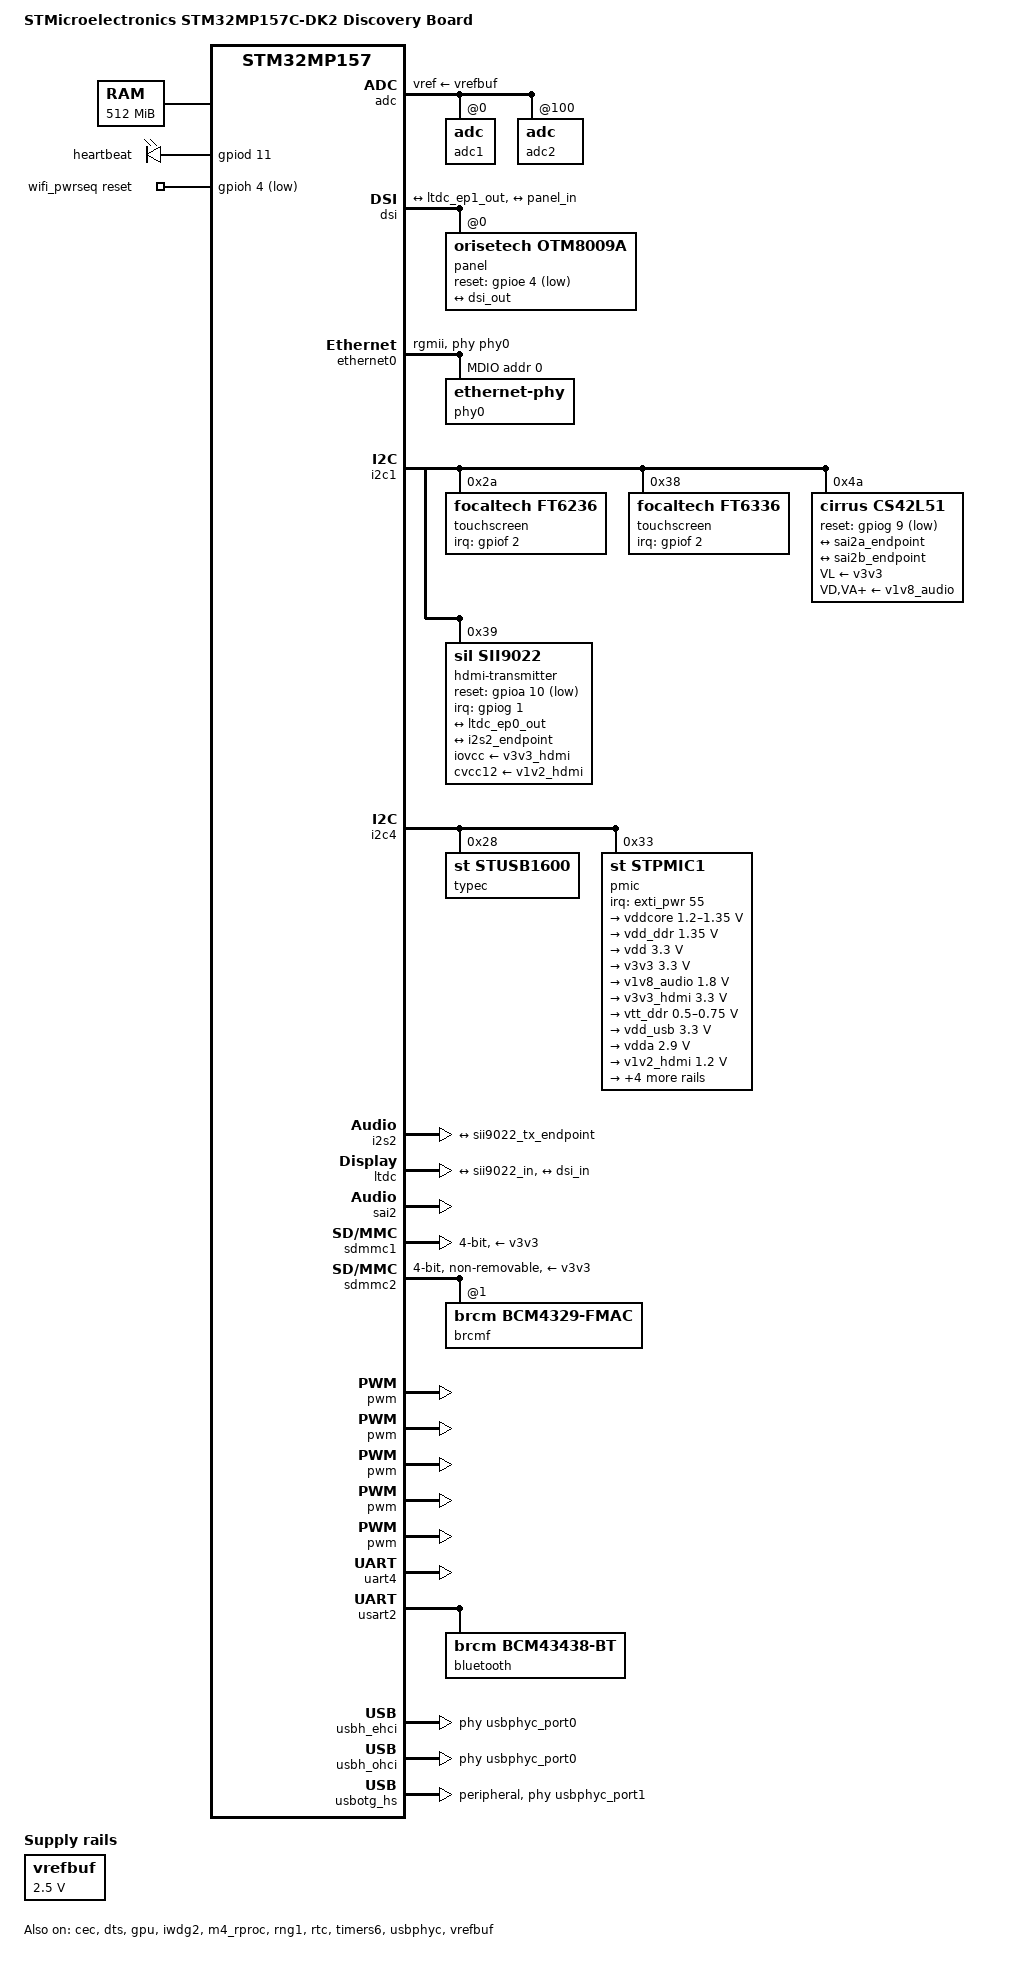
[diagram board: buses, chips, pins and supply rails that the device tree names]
// SPDX-License-Identifier: (GPL-2.0+ OR BSD-3-Clause)
/*
 * Copyright (C) STMicroelectronics 2018 - All Rights Reserved
 * Author: Alexandre Torgue <alexandre.torgue@st.com>.
 */

/dts-v1/;
#include "stm32mp157c.dtsi"
#include "stm32mp157c-m4-srm.dtsi"
#include "stm32mp157cac-pinctrl.dtsi"

/* USER CODE BEGIN includes */
#include <dt-bindings/gpio/gpio.h>
#include <dt-bindings/input/input.h>
#include <dt-bindings/mfd/st,stpmic1.h>
#include <dt-bindings/rtc/rtc-stm32.h>
/* USER CODE END includes */

/ {
	model = "STMicroelectronics STM32MP157C-DK2 Discovery Board";
	compatible = "st,stm32mp157c-dk2", "st,stm32mp157";

	memory@c0000000 {
		reg = <0xc0000000 0x20000000>;
	};

	reserved-memory {
		#address-cells = <1>;
		#size-cells = <1>;
		ranges;

		/* USER CODE BEGIN reserved-memory */

		retram: retram@0x38000000 {
			compatible = "shared-dma-pool";
			reg = <0x38000000 0x10000>;
			no-map;
		};

		mcuram: mcuram@0x30000000 {
			compatible = "shared-dma-pool";
			reg = <0x30000000 0x40000>;
			no-map;
		};

		mcuram2: mcuram2@0x10000000 {
			compatible = "shared-dma-pool";
			reg = <0x10000000 0x40000>;
			no-map;
		};

		vdev0vring0: vdev0vring0@10040000 {
			compatible = "shared-dma-pool";
			reg = <0x10040000 0x2000>;
			no-map;
		};

		vdev0vring1: vdev0vring1@10042000 {
			compatible = "shared-dma-pool";
			reg = <0x10042000 0x2000>;
			no-map;
		};

		vdev0buffer: vdev0buffer@10044000 {
			compatible = "shared-dma-pool";
			reg = <0x10044000 0x4000>;
			no-map;
		};
		/* USER CODE END reserved-memory */

		gpu_reserved: gpu@dc000000 {
			reg = <0xdc000000 0x4000000>;
			no-map;
		};
	};

	/* USER CODE BEGIN root */
	aliases {
		ethernet0 = &ethernet0;
		serial0 = &uart4;
		serial1 = &usart3;
		serial2 = &uart7;
		serial3 = &usart2;
	};

	chosen {
		stdout-path = "serial0:115200n8";
	};

	sram: sram@10050000 {
		compatible = "mmio-sram";
		reg = <0x10050000 0x10000>;
		#address-cells = <1>;
		#size-cells = <1>;
		ranges = <0 0x10050000 0x10000>;

		dma_pool: dma_pool@0 {
			reg = <0x0 0x10000>;
			pool;
		};
	};

	led {
		compatible = "gpio-leds";
		blue {
			label = "heartbeat";
			gpios = <&gpiod 11 GPIO_ACTIVE_HIGH>;
			linux,default-trigger = "heartbeat";
			default-state = "off";
		};
	};

	sound {
		compatible = "audio-graph-card";
		label = "STM32MP1-DK";
		routing =
			"Playback" , "MCLK",
			"Capture" , "MCLK",
			"MICL" , "Mic Bias";
		dais = <&sai2a_port &sai2b_port &i2s2_port>;
		status = "okay";
	};

	usb_phy_tuning: usb-phy-tuning {
		st,hs-dc-level = <2>;
		st,fs-rftime-tuning;
		st,hs-rftime-reduction;
		st,hs-current-trim = <15>;
		st,hs-impedance-trim = <1>;
		st,squelch-level = <3>;
		st,hs-rx-offset = <2>;
		st,no-lsfs-sc;
	};

	wifi_pwrseq: wifi-pwrseq {
		compatible = "mmc-pwrseq-simple";
		reset-gpios = <&gpioh 4 GPIO_ACTIVE_LOW>;
	};
	/* USER CODE END root */

        /* USER CODE BEGIN clocks */
        /* USER CODE END clocks */
};

&adc {
	pinctrl-names = "default";
	pinctrl-0 = <&adc12_usb_pwr_pins_a>;
	status = "okay";

	/* USER CODE BEGIN adc */
	vdd-supply = <&vdd>;
	vdda-supply = <&vdd>;
	vref-supply = <&vrefbuf>;
	adc1: adc@0 {
		/*
		 * Type-C USB_PWR_CC1 & USB_PWR_CC2 on in18 & in19.
		 * Use at least 5 * RC time, e.g. 5 * (Rp + Rd) * C:
		 * 5 * (56 + 47kOhms) * 5pF => 2.5us.
		 * Use arbitrary margin here (e.g. 5µs).
		 */
		st,min-sample-time-nsecs = <5000>;
		/* ANA0, ANA1, USB Type-C CC1 & CC2 */
		st,adc-channels = <0 1 18 19>;
		status = "okay";
	};
	adc2: adc@100 {
		/* ANA0, ANA1, temp sensor, USB Type-C CC1 & CC2 */
		st,adc-channels = <0 1 12 18 19>;
		/* temperature sensor min sample time */
		st,min-sample-time-nsecs = <10000>;
		status = "okay";
	};
	/* USER CODE END adc */

	adc_temp: temp {
		status = "okay";
	};
};

&cec {
	pinctrl-names = "default", "sleep";
	pinctrl-0 = <&cec_pins_b>;
	pinctrl-1 = <&cec_pins_sleep_b>;
	status = "okay";
};

&dsi {
	status = "okay";

	/* USER CODE BEGIN dsi */
	#address-cells = <1>;
	#size-cells = <0>;

	ports {
		#address-cells = <1>;
		#size-cells = <0>;

		port@0 {
			reg = <0>;
			dsi_in: endpoint {
				remote-endpoint = <&ltdc_ep1_out>;
			};
		};

		port@1 {
			reg = <1>;
			dsi_out: endpoint {
				remote-endpoint = <&panel_in>;
			};
		};
	};

	panel@0 {
		compatible = "orisetech,otm8009a";
		reg = <0>;
		reset-gpios = <&gpioe 4 GPIO_ACTIVE_LOW>;
		status = "okay";

		port {
			panel_in: endpoint {
				remote-endpoint = <&dsi_out>;
			};
		};
	};
	/* USER CODE END dsi */
};

&dts {
	status = "okay";
};

&ethernet0 {
	status = "okay";
	pinctrl-0 = <&ethernet0_rgmii_pins_a>;
	pinctrl-1 = <&ethernet0_rgmii_pins_sleep_a>;
	pinctrl-names = "default", "sleep";

	/* USER CODE BEGIN ethernet0 */
	phy-mode = "rgmii";
	max-speed = <1000>;
	phy-handle = <&phy0>;

	mdio0 {
		#address-cells = <1>;
		#size-cells = <0>;
		compatible = "snps,dwmac-mdio";
		phy0: ethernet-phy@0 {
			reg = <0>;
		};
	};
	/* USER CODE END ethernet0 */
};

&gpu {
	/* USER CODE BEGIN gpu */
	contiguous-area = <&gpu_reserved>;
	/* USER CODE END gpu */
	status = "okay";
};

&i2c1 {
	pinctrl-names = "default", "sleep";
	pinctrl-0 = <&i2c1_pins_a>;
	pinctrl-1 = <&i2c1_pins_sleep_a>;
	status = "okay";

	/* USER CODE BEGIN i2c1 */
	i2c-scl-rising-time-ns = <100>;
	i2c-scl-falling-time-ns = <7>;
	/delete-property/dmas;
	/delete-property/dma-names;

	touchscreen@2a {
		compatible = "focaltech,ft6236";
		reg = <0x2a>;
		interrupts = <2 2>;
		interrupt-parent = <&gpiof>;
		interrupt-controller;
		touchscreen-size-x = <480>;
		touchscreen-size-y = <800>;
		status = "okay";
	};
	touchscreen@38 {
		compatible = "focaltech,ft6336";
		reg = <0x38>;
		interrupts = <2 2>;
		interrupt-parent = <&gpiof>;
		interrupt-controller;
		touchscreen-size-x = <480>;
		touchscreen-size-y = <800>;
		status = "okay";
	};

	cs42l51: cs42l51@4a {
		compatible = "cirrus,cs42l51";
		reg = <0x4a>;
		#sound-dai-cells = <0>;
		status = "okay";

		VL-supply = <&v3v3>;
		VD-supply = <&v1v8_audio>;
		VA-supply = <&v1v8_audio>;
		VAHP-supply = <&v1v8_audio>;

		reset-gpios = <&gpiog 9 GPIO_ACTIVE_LOW>;

		clocks = <&sai2a>;
		clock-names = "MCLK";

		cs42l51_port: port {
			#address-cells = <1>;
			#size-cells = <0>;

			cs42l51_tx_endpoint: endpoint@0 {
				reg = <0>;
				remote-endpoint = <&sai2a_endpoint>;
				frame-master;
				bitclock-master;
			};

			cs42l51_rx_endpoint: endpoint@1 {
				reg = <1>;
				remote-endpoint = <&sai2b_endpoint>;
				frame-master;
				bitclock-master;
			};
		};
	};

	hdmi-transmitter@39 {
		compatible = "sil,sii9022";
		reg = <0x39>;
		iovcc-supply = <&v3v3_hdmi>;
		cvcc12-supply = <&v1v2_hdmi>;
		reset-gpios = <&gpioa 10 GPIO_ACTIVE_LOW>;
		interrupts = <1 IRQ_TYPE_EDGE_FALLING>;
		interrupt-parent = <&gpiog>;
		pinctrl-names = "default", "sleep";
		pinctrl-0 = <&ltdc_pins_a>;
		pinctrl-1 = <&ltdc_pins_sleep_a>;
		status = "okay";

		ports {
			#address-cells = <1>;
			#size-cells = <0>;

			port@0 {
				reg = <0>;
				sii9022_in: endpoint {
					remote-endpoint = <&ltdc_ep0_out>;
				};
			};

			port@1 {
				reg = <1>;
				sii9022_tx_endpoint: endpoint {
					remote-endpoint = <&i2s2_endpoint>;
				};
			};
		};
	};
	/* USER CODE END i2c1 */
};

&i2c4 {
	pinctrl-names = "default", "sleep";
	pinctrl-0 = <&i2c4_pins_a>;
	pinctrl-1 = <&i2c4_pins_sleep_a>;
	status = "okay";

	/* USER CODE BEGIN i2c4 */
	i2c-scl-rising-time-ns = <185>;
	i2c-scl-falling-time-ns = <20>;
	/delete-property/dmas;
	/delete-property/dma-names;

	typec: stusb1600@28 {
		compatible = "st,stusb1600";
		reg = <0x28>;
		status = "okay";

		typec_con: connector {
			compatible = "usb-c-connector";
			label = "USB-C";
			power-role = "sink";
			power-opmode = "default";
		};
	};

	pmic: stpmic@33 {
		compatible = "st,stpmic1";
		reg = <0x33>;
		interrupts-extended = <&exti_pwr 55 IRQ_TYPE_EDGE_FALLING>;
		interrupt-controller;
		#interrupt-cells = <2>;
		status = "okay";

		st,main-control-register = <0x04>;
		st,vin-control-register = <0xc0>;
		st,usb-control-register = <0x20>;

		regulators {
			compatible = "st,stpmic1-regulators";

			ldo1-supply = <&v3v3>;
			ldo3-supply = <&vdd_ddr>;
			ldo6-supply = <&v3v3>;
			pwr_sw1-supply = <&bst_out>;
			pwr_sw2-supply = <&bst_out>;

			vddcore: buck1 {
				regulator-name = "vddcore";
				regulator-min-microvolt = <1200000>;
				regulator-max-microvolt = <1350000>;
				regulator-always-on;
				regulator-initial-mode = <0>;
				regulator-over-current-protection;
			};

			vdd_ddr: buck2 {
				regulator-name = "vdd_ddr";
				regulator-min-microvolt = <1350000>;
				regulator-max-microvolt = <1350000>;
				regulator-always-on;
				regulator-initial-mode = <0>;
				regulator-over-current-protection;
			};

			vdd: buck3 {
				regulator-name = "vdd";
				regulator-min-microvolt = <3300000>;
				regulator-max-microvolt = <3300000>;
				regulator-always-on;
				st,mask-reset;
				regulator-initial-mode = <0>;
				regulator-over-current-protection;
			};

			v3v3: buck4 {
				regulator-name = "v3v3";
				regulator-min-microvolt = <3300000>;
				regulator-max-microvolt = <3300000>;
				regulator-always-on;
				regulator-over-current-protection;
				regulator-initial-mode = <0>;
			};

			v1v8_audio: ldo1 {
				regulator-name = "v1v8_audio";
				regulator-min-microvolt = <1800000>;
				regulator-max-microvolt = <1800000>;
				regulator-always-on;
				interrupts = <IT_CURLIM_LDO1 0>;

			};

			v3v3_hdmi: ldo2 {
				regulator-name = "v3v3_hdmi";
				regulator-min-microvolt = <3300000>;
				regulator-max-microvolt = <3300000>;
				regulator-always-on;
				interrupts = <IT_CURLIM_LDO2 0>;

			};

			vtt_ddr: ldo3 {
				regulator-name = "vtt_ddr";
				regulator-min-microvolt = <500000>;
				regulator-max-microvolt = <750000>;
				regulator-always-on;
				regulator-over-current-protection;
			};

			vdd_usb: ldo4 {
				regulator-name = "vdd_usb";
				regulator-min-microvolt = <3300000>;
				regulator-max-microvolt = <3300000>;
				interrupts = <IT_CURLIM_LDO4 0>;
			};

			vdda: ldo5 {
				regulator-name = "vdda";
				regulator-min-microvolt = <2900000>;
				regulator-max-microvolt = <2900000>;
				interrupts = <IT_CURLIM_LDO5 0>;
				regulator-boot-on;
			};

			v1v2_hdmi: ldo6 {
				regulator-name = "v1v2_hdmi";
				regulator-min-microvolt = <1200000>;
				regulator-max-microvolt = <1200000>;
				regulator-always-on;
				interrupts = <IT_CURLIM_LDO6 0>;

			};

			vref_ddr: vref_ddr {
				regulator-name = "vref_ddr";
				regulator-always-on;
				regulator-over-current-protection;
			};

			 bst_out: boost {
				regulator-name = "bst_out";
				interrupts = <IT_OCP_BOOST 0>;
			 };

			vbus_otg: pwr_sw1 {
				regulator-name = "vbus_otg";
				interrupts = <IT_OCP_OTG 0>;
				regulator-active-discharge;
			 };

			 vbus_sw: pwr_sw2 {
				regulator-name = "vbus_sw";
				interrupts = <IT_OCP_SWOUT 0>;
				regulator-active-discharge;
			 };
		};

		onkey {
			compatible = "st,stpmic1-onkey";
			interrupts = <IT_PONKEY_F 0>, <IT_PONKEY_R 1>;
			interrupt-names = "onkey-falling", "onkey-rising";
			status = "okay";
		};

		watchdog {
			compatible = "st,stpmic1-wdt";
			status = "disabled";
		};
	};
	/* USER CODE END i2c4 */
};

&i2s2 {
	pinctrl-names = "default", "sleep";
	pinctrl-0 = <&i2s2_pins_a>;
	pinctrl-1 = <&i2s2_pins_sleep_a>;
	status = "okay";

	/* USER CODE BEGIN i2s2 */
	clocks = <&rcc SPI2>, <&rcc SPI2_K>, <&rcc PLL3_Q>, <&rcc PLL3_R>;
	clock-names = "pclk", "i2sclk", "x8k", "x11k";

	i2s2_port: port {
		i2s2_endpoint: endpoint {
			remote-endpoint = <&sii9022_tx_endpoint>;
			format = "i2s";
			mclk-fs = <256>;
		};
	};
	/* USER CODE END i2s2 */
};

&ipcc {
	status = "okay";
};

&iwdg2 {
	/* USER CODE BEGIN iwdg2 */
	timeout-sec = <32>;
	/* USER CODE END iwdg2 */
	status = "okay";
};

&ltdc {
	status = "okay";

	/* USER CODE BEGIN ltdc */
	port {
		#address-cells = <1>;
		#size-cells = <0>;

		ltdc_ep0_out: endpoint@0 {
			reg = <0>;
			remote-endpoint = <&sii9022_in>;
		};

		ltdc_ep1_out: endpoint@1 {
			reg = <1>;
			remote-endpoint = <&dsi_in>;
		};
	};
	/* USER CODE END ltdc */
};

&m4_rproc {
	memory-region = <&retram>, <&mcuram>, <&mcuram2>, <&vdev0vring0>,
			<&vdev0vring1>, <&vdev0buffer>;
	mboxes = <&ipcc 0>, <&ipcc 1>, <&ipcc 2>;
	mbox-names = "vq0", "vq1", "shutdown";
	/* USER CODE BEGIN m4_rproc */
	interrupt-parent = <&exti>;
	interrupts = <68 1>;
	interrupt-names = "wdg";
	/* USER CODE END m4_rproc */
	recovery;
	status = "okay";
};

&pwr {
	/* USER CODE BEGIN pwr */
	pwr-supply = <&vdd>;
	/* USER CODE END pwr */
};

&rng1 {
	status = "okay";
};

&rtc {
	pinctrl-0 = <&rtc_out2_rmp_pins_a>;
	pinctrl-names = "default";
	status = "okay";
	/* USER CODE BEGIN rtc */
	st,lsco = <RTC_OUT2_RMP>;
	/* USER CODE END rtc */
};

&sai2 {
	pinctrl-names = "default", "sleep";
	pinctrl-0 = <&sai2a_pins_a>, <&sai2b_pins_b>;
	pinctrl-1 = <&sai2a_sleep_pins_a>, <&sai2b_sleep_pins_b>;
	status = "okay";

	/* USER CODE BEGIN sai2 */
	clocks = <&rcc SAI2>, <&rcc PLL3_Q>, <&rcc PLL3_R>;
	clock-names = "pclk", "x8k", "x11k";
	/* USER CODE END sai2 */

	sai2a: audio-controller@4400b004 {
		status = "okay";

		/* USER CODE BEGIN sai2a */
		#clock-cells = <0>;
		dma-names = "tx";
		clocks = <&rcc SAI2_K>;
		clock-names = "sai_ck";

		sai2a_port: port {
			sai2a_endpoint: endpoint {
				remote-endpoint = <&cs42l51_tx_endpoint>;
				format = "i2s";
				mclk-fs = <256>;
				dai-tdm-slot-num = <2>;
				dai-tdm-slot-width = <32>;
			};
		};
		/* USER CODE END sai2a */
	};

	sai2b: audio-controller@4400b024 {
		status = "okay";

		/* USER CODE BEGIN sai2b */
		dma-names = "rx";
		st,sync = <&sai2a 2>;
		clocks = <&rcc SAI2_K>, <&sai2a>;
		clock-names = "sai_ck", "MCLK";

		sai2b_port: port {
			sai2b_endpoint: endpoint {
				remote-endpoint = <&cs42l51_rx_endpoint>;
				format = "i2s";
				mclk-fs = <256>;
				dai-tdm-slot-num = <2>;
				dai-tdm-slot-width = <32>;
			};
		};
		/* USER CODE END sai2b */
	};
};

&sdmmc1 {
	pinctrl-names = "default", "opendrain", "sleep";
	pinctrl-0 = <&sdmmc1_b4_pins_a>;
	pinctrl-1 = <&sdmmc1_b4_od_pins_a>;
	pinctrl-2 = <&sdmmc1_b4_sleep_pins_a>;
	/* USER CODE BEGIN sdmmc1 */
	broken-cd;
	st,neg-edge;
	bus-width = <4>;
	vmmc-supply = <&v3v3>;
	/* USER CODE END sdmmc1 */
	status = "okay";
};

/* Wifi */
&sdmmc2 {
	pinctrl-names = "default", "opendrain", "sleep";
	pinctrl-0 = <&sdmmc2_b4_pins_b>;
	pinctrl-1 = <&sdmmc2_b4_od_pins_b>;
	pinctrl-2 = <&sdmmc2_b4_sleep_pins_a>;
	status = "okay";

	/* USER CODE BEGIN sdmmc2 */
	arm,primecell-periphid = <0x10153180>;
	non-removable;
	st,neg-edge;
	bus-width = <4>;
	vmmc-supply = <&v3v3>;
	mmc-pwrseq = <&wifi_pwrseq>;
	#address-cells = <1>;
	#size-cells = <0>;
	keep-power-in-suspend;

	brcmf: bcrmf@1 {
		reg = <1>;
		compatible = "brcm,bcm4329-fmac";
	};
	/* USER CODE END sdmmc2 */
};

&spi4 {
	pinctrl-names = "default", "sleep";
	pinctrl-0 = <&spi4_pins_a>;
	pinctrl-1 = <&spi4_sleep_pins_a>;
	status = "disabled";
};

&spi5 {
	pinctrl-names = "default", "sleep";
	pinctrl-0 = <&spi5_pins_a>;
	pinctrl-1 = <&spi5_sleep_pins_a>;
	status = "disabled";
};

&timers1 {
	/* USER CODE BEGIN timers1 */
	/* spare dmas for other usage */
	/delete-property/dmas;
	/delete-property/dma-names;
	/* USER CODE END timers1 */
	pwm {
		pinctrl-0 = <&pwm1_pins_a>;
		pinctrl-1 = <&pwm1_sleep_pins_a>;
		pinctrl-names = "default", "sleep";
		status = "okay";
	};
	timer@0 {
		status = "okay";
	};
};

&timers3 {
	/* USER CODE BEGIN timers3 */
	/delete-property/dmas;
	/delete-property/dma-names;
	/* USER CODE END timers3 */
	pwm {
		pinctrl-0 = <&pwm3_pins_a>;
		pinctrl-1 = <&pwm3_sleep_pins_a>;
		pinctrl-names = "default", "sleep";
		status = "okay";
	};
	timer@2 {
		status = "okay";
	};
};

&timers4 {
	/* USER CODE BEGIN timers4 */
	/delete-property/dmas;
	/delete-property/dma-names;
	/* USER CODE END timers4 */
	pwm {
		pinctrl-0 = <&pwm4_pins_a &pwm4_pins_b>;
		pinctrl-1 = <&pwm4_sleep_pins_a &pwm4_sleep_pins_b>;
		pinctrl-names = "default", "sleep";
		status = "okay";
	};
	timer@3 {
		status = "okay";
	};
};

&timers5 {
	/* USER CODE BEGIN timers5 */
	/delete-property/dmas;
	/delete-property/dma-names;
	/* USER CODE END timers5 */

	pwm {
		pinctrl-0 = <&pwm5_pins_a>;
		pinctrl-1 = <&pwm5_sleep_pins_a>;
		pinctrl-names = "default", "sleep";
		status = "okay";
	};
	timer@4 {
		status = "okay";
	};
};

&timers6 {
	status = "okay";
	/* USER CODE BEGIN timers6 */
	/* spare dmas for other usage */
	/delete-property/dmas;
	/delete-property/dma-names;
	timer@5 {
		status = "okay";
	};
	/* USER CODE END timers6 */
};

&timers12 {
	/* USER CODE BEGIN timers12 */
	/delete-property/dmas;
	/delete-property/dma-names;
	/* USER CODE END timers12 */
	pwm {
		pinctrl-0 = <&pwm12_pins_a>;
		pinctrl-1 = <&pwm12_sleep_pins_a>;
		pinctrl-names = "default", "sleep";
		status = "okay";
	};
	timer@11 {
		status = "okay";
	};
};

&uart4 {
	pinctrl-names = "default", "sleep", "idle", "no_console_suspend";
	pinctrl-0 = <&uart4_pins_a>;
	pinctrl-1 = <&uart4_sleep_pins_a>;
	pinctrl-2 = <&uart4_idle_pins_a>;
	pinctrl-3 = <&uart4_pins_a>;
	status = "okay";
};

&uart7 {
	pinctrl-names = "default", "sleep", "idle";
	pinctrl-0 = <&uart7_pins_a>;
	pinctrl-1 = <&uart7_sleep_pins_a>;
	pinctrl-2 = <&uart7_idle_pins_a>;
	status = "disabled";
};

/* Bluetooth */
&usart2 {
	pinctrl-names = "default", "sleep", "idle";
	pinctrl-0 = <&usart2_pins_a>;
	pinctrl-1 = <&usart2_sleep_pins_a>;
	pinctrl-2 = <&usart2_idle_pins_a>;
	status = "okay";

	/* USER CODE BEGIN usart2 */
	st,hw-flow-ctrl;

	bluetooth {
		pinctrl-names = "default";
		pinctrl-0 = <&btreg>;
		compatible = "brcm,bcm43438-bt";
		max-speed = <3000000>;
	};
	/* USER CODE END usart2 */
};

&usart3 {
	pinctrl-names = "default", "sleep", "idle";
	pinctrl-0 = <&usart3_pins_b>;
	pinctrl-1 = <&usart3_sleep_pins_b>;
	pinctrl-2 = <&usart3_idle_pins_b>;
	status = "disabled";
};

&usbh_ehci {
	/* USER CODE BEGIN usbh_ehci */
	phys = <&usbphyc_port0>;
	phy-names = "usb";
	/* USER CODE END usbh_ehci */
	status = "okay";
};

&usbh_ohci {
	/* USER CODE BEGIN usbh_ohci */
	phys = <&usbphyc_port0>;
	phy-names = "usb";
	/* USER CODE END usbh_ohci */
	status = "okay";
};

&usbotg_hs {
	/* USER CODE BEGIN usbotg_hs */
	dr_mode = "peripheral";
	force-b-session-valid;
	phys = <&usbphyc_port1 0>;
	phy-names = "usb2-phy";
	/* USER CODE END usbotg_hs */
	status = "okay";
};

&usbphyc {
	/* USER CODE BEGIN usbphyc */
	vdd3v3-supply = <&vdd_usb>;
	/* USER CODE END usbphyc */
	status = "okay";
};

&usbphyc_port0 {
	/* USER CODE BEGIN usbphyc_port0 */
	st,phy-tuning = <&usb_phy_tuning>;
	/* USER CODE END usbphyc_port0 */
};

&usbphyc_port1 {
	/* USER CODE BEGIN usbphyc_port1 */
	st,phy-tuning = <&usb_phy_tuning>;
	/* USER CODE END usbphyc_port1 */
};

&vrefbuf {
	/* USER CODE BEGIN vrefbuf */
	regulator-min-microvolt = <2500000>;
	regulator-max-microvolt = <2500000>;
	vdda-supply = <&vdd>;
	/* USER CODE END vrefbuf */
	status = "okay";
};

/* USER CODE BEGIN addons */
&dma1 {
	sram = <&dma_pool>;
};

&dma2 {
	sram = <&dma_pool>;
};
/* USER CODE END addons */
